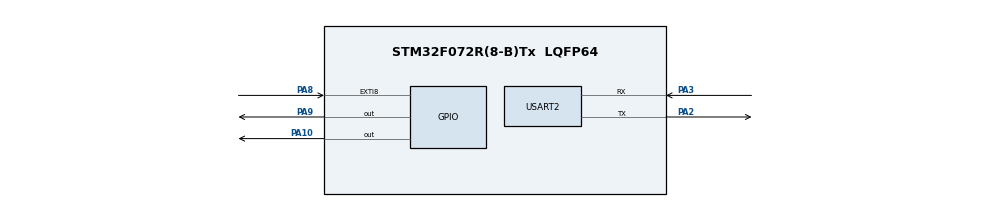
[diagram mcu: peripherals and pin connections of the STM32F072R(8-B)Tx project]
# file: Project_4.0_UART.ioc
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Mcu.Family=STM32F0
Mcu.Name=STM32F072R(8-B)Tx
Mcu.Package=LQFP64
NVIC.EXTI4_15_IRQn=true\:0\:0\:false\:false\:true\:true\:true\:true
PA10.Signal=GPIO_Output
PA2.Mode=Asynchronous
PA2.Signal=USART2_TX
PA3.Mode=Asynchronous
PA3.Signal=USART2_RX
PA8.Signal=GPXTI8
PA9.Signal=GPIO_Output
PF0-OSC_IN.Mode=HSE-External-Oscillator
PF0-OSC_IN.Signal=RCC_OSC_IN
PF1-OSC_OUT.Mode=HSE-External-Oscillator
PF1-OSC_OUT.Signal=RCC_OSC_OUT
ProjectManager.HeapSize=0x200
ProjectManager.StackSize=0x400
ProjectManager.TargetToolchain=STM32CubeIDE
USART2.VirtualMode-Asynchronous=VM_ASYNC
board=custom

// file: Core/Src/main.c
/* USER CODE BEGIN Header */
/**
  ******************************************************************************
  * @file           : main.c
  * @brief          : Main program body
  ******************************************************************************
  * @attention
  *
  * Copyright (c) 2023 STMicroelectronics.
  * All rights reserved.
  *
  * This software is licensed under terms that can be found in the LICENSE file
  * in the root directory of this software component.
  * If no LICENSE file comes with this software, it is provided AS-IS.
  *
  ******************************************************************************
  */
/* USER CODE END Header */
#include "main.h"

UART_HandleTypeDef huart2;

void SystemClock_Config(void);
static void MX_GPIO_Init(void);
static void MX_USART2_UART_Init(void);

/* USER CODE BEGIN 0 */
uint8_t RX1_Char = 0;
uint8_t MSG[] = "Button Pressed\r\n"; 							//The message that will be sent when we press the button.

void HAL_GPIO_EXTI_Callback(uint16_t GPIO_Pin) 					// EXTI Line[4:15] External Interrupt  CallBackFunction
{
	if (GPIO_Pin == GPIO_PIN_8)								    // If The Interrupt source Is EXTI Line8 (A8 Pin)
	{
		HAL_UART_Transmit(&huart2, MSG, sizeof(MSG), 100); 		//Send the MSG with UART
	}

}
/* USER CODE END 0 */

int main(void)
{
  /* USER CODE BEGIN 1 */
	uint8_t RX1_Char = 0;
  /* USER CODE END 1 */

  /* MCU Configuration--------------------------------------------------------*/

  /* Reset of all peripherals, Initializes the Flash interface and the Systick. */
  HAL_Init();

  /* Configure the system clock */
  SystemClock_Config();

  /* Initialize all configured peripherals */
  MX_GPIO_Init();
  MX_USART2_UART_Init();

  /* Infinite loop */
	while (1) {

    /* USER CODE BEGIN 3 */
		if (HAL_UART_Receive(&huart2, &RX1_Char, 1, 10) == HAL_OK) { // We are listening. We are checking if there is any incoming data.
			if (RX1_Char == '1') {									//  If there is incoming data, we enter the function and check the incoming data.
				HAL_GPIO_TogglePin(GPIOA, GPIO_PIN_9);			   //  If the incoming data is "1", we toggle PA6; if it is "2", we toggle PA10.
				RX1_Char = 0;
				HAL_UART_Receive(&huart2, &RX1_Char, 1, 10);

			}
			if (RX1_Char == '2') {
				HAL_GPIO_TogglePin(GPIOA, GPIO_PIN_10);
				RX1_Char = 0;
				HAL_UART_Receive(&huart2, &RX1_Char, 1, 10);

			}
			HAL_Delay(100);											 // We are creating a small delay to prevent data from overlapping
		}
	}
  /* USER CODE END 3 */
}

void SystemClock_Config(void)
{
  RCC_OscInitTypeDef RCC_OscInitStruct = {0};
  RCC_ClkInitTypeDef RCC_ClkInitStruct = {0};
  RCC_PeriphCLKInitTypeDef PeriphClkInit = {0};

  /** Initializes the RCC Oscillators according to the specified parameters
  * in the RCC_OscInitTypeDef structure.
  */
  RCC_OscInitStruct.OscillatorType = RCC_OSCILLATORTYPE_HSI;
  RCC_OscInitStruct.HSIState = RCC_HSI_ON;
  RCC_OscInitStruct.HSICalibrationValue = RCC_HSICALIBRATION_DEFAULT;
  RCC_OscInitStruct.PLL.PLLState = RCC_PLL_NONE;
  if (HAL_RCC_OscConfig(&RCC_OscInitStruct) != HAL_OK)
  {
    Error_Handler();
  }

  /** Initializes the CPU, AHB and APB buses clocks
  */
  RCC_ClkInitStruct.ClockType = RCC_CLOCKTYPE_HCLK|RCC_CLOCKTYPE_SYSCLK
                              |RCC_CLOCKTYPE_PCLK1;
  RCC_ClkInitStruct.SYSCLKSource = RCC_SYSCLKSOURCE_HSI;
  RCC_ClkInitStruct.AHBCLKDivider = RCC_SYSCLK_DIV1;
  RCC_ClkInitStruct.APB1CLKDivider = RCC_HCLK_DIV1;

  if (HAL_RCC_ClockConfig(&RCC_ClkInitStruct, FLASH_LATENCY_0) != HAL_OK)
  {
    Error_Handler();
  }
  PeriphClkInit.PeriphClockSelection = RCC_PERIPHCLK_USART2;
  PeriphClkInit.Usart2ClockSelection = RCC_USART2CLKSOURCE_PCLK1;
  if (HAL_RCCEx_PeriphCLKConfig(&PeriphClkInit) != HAL_OK)
  {
    Error_Handler();
  }
}

static void MX_USART2_UART_Init(void)
{

  huart2.Instance = USART2;
  huart2.Init.BaudRate = 38400;
  huart2.Init.WordLength = UART_WORDLENGTH_8B;
  huart2.Init.StopBits = UART_STOPBITS_1;
  huart2.Init.Parity = UART_PARITY_NONE;
  huart2.Init.Mode = UART_MODE_TX_RX;
  huart2.Init.HwFlowCtl = UART_HWCONTROL_NONE;
  huart2.Init.OverSampling = UART_OVERSAMPLING_16;
  huart2.Init.OneBitSampling = UART_ONE_BIT_SAMPLE_DISABLE;
  huart2.AdvancedInit.AdvFeatureInit = UART_ADVFEATURE_NO_INIT;
  if (HAL_UART_Init(&huart2) != HAL_OK)
  {
    Error_Handler();
  }

}

static void MX_GPIO_Init(void)
{
  GPIO_InitTypeDef GPIO_InitStruct = {0};

  /* GPIO Ports Clock Enable */
  __HAL_RCC_GPIOF_CLK_ENABLE();
  __HAL_RCC_GPIOA_CLK_ENABLE();

  /*Configure GPIO pin Output Level */
  HAL_GPIO_WritePin(GPIOA, GPIO_PIN_9|GPIO_PIN_10, GPIO_PIN_RESET);

  /*Configure GPIO pin : PA8 */
  GPIO_InitStruct.Pin = GPIO_PIN_8;
  GPIO_InitStruct.Mode = GPIO_MODE_IT_RISING;
  GPIO_InitStruct.Pull = GPIO_NOPULL;
  HAL_GPIO_Init(GPIOA, &GPIO_InitStruct);

  /*Configure GPIO pins : PA9 PA10 */
  GPIO_InitStruct.Pin = GPIO_PIN_9|GPIO_PIN_10;
  GPIO_InitStruct.Mode = GPIO_MODE_OUTPUT_PP;
  GPIO_InitStruct.Pull = GPIO_NOPULL;
  GPIO_InitStruct.Speed = GPIO_SPEED_FREQ_LOW;
  HAL_GPIO_Init(GPIOA, &GPIO_InitStruct);

  /* EXTI interrupt init*/
  HAL_NVIC_SetPriority(EXTI4_15_IRQn, 0, 0);
  HAL_NVIC_EnableIRQ(EXTI4_15_IRQn);

}

void Error_Handler(void)
{
  __disable_irq();
  while (1)
  {
  }
}
